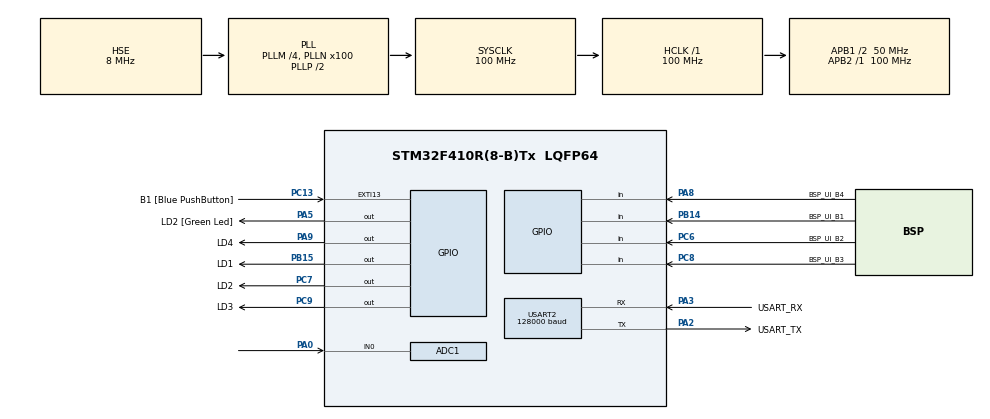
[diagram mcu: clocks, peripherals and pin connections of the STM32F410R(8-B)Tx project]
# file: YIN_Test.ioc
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ADC1.Channel-0\#ChannelRegularConversion=ADC_CHANNEL_0
ADC1.ContinuousConvMode=DISABLE
ADC1.DMAContinuousRequests=ENABLE
ADC1.EnableAnalogWatchDog=true
ADC1.ExternalTrigConv=ADC_EXTERNALTRIGCONV_T5_CC1
ADC1.ExternalTrigConvEdge=ADC_EXTERNALTRIGCONVEDGE_RISINGFALLING
ADC1.HighThreshold=2250
ADC1.ITMode=DISABLE
ADC1.InjNumberOfConversion=0
ADC1.LowThreshold=600
ADC1.NbrOfConversion=1
ADC1.NbrOfConversionFlag=1
ADC1.Rank-0\#ChannelRegularConversion=1
ADC1.SamplingTime-0\#ChannelRegularConversion=ADC_SAMPLETIME_28CYCLES
ADC1.master=1
Dma.ADC1.0.Direction=DMA_PERIPH_TO_MEMORY
Dma.ADC1.0.FIFOMode=DMA_FIFOMODE_ENABLE
Dma.ADC1.0.FIFOThreshold=DMA_FIFO_THRESHOLD_FULL
Dma.ADC1.0.Instance=DMA2_Stream0
Dma.ADC1.0.MemBurst=DMA_MBURST_INC8
Dma.ADC1.0.MemDataAlignment=DMA_MDATAALIGN_HALFWORD
Dma.ADC1.0.MemInc=DMA_MINC_ENABLE
Dma.ADC1.0.Mode=DMA_CIRCULAR
Dma.ADC1.0.PeriphBurst=DMA_PBURST_SINGLE
Dma.ADC1.0.PeriphDataAlignment=DMA_PDATAALIGN_HALFWORD
Dma.ADC1.0.PeriphInc=DMA_PINC_DISABLE
Dma.ADC1.0.Priority=DMA_PRIORITY_VERY_HIGH
Dma.Request0=ADC1
FREERTOS.INCLUDE_eTaskGetState=1
FREERTOS.INCLUDE_uxTaskGetStackHighWaterMark=1
FREERTOS.INCLUDE_uxTaskPriorityGet=1
FREERTOS.INCLUDE_vTaskCleanUpResources=1
FREERTOS.INCLUDE_vTaskDelete=0
FREERTOS.INCLUDE_vTaskPrioritySet=1
FREERTOS.INCLUDE_xTaskGetCurrentTaskHandle=1
FREERTOS.MEMORY_ALLOCATION=2
FREERTOS.Queues01=Queue_F0,4,float,0,Static,Queue_F0Buffer,Queue_F0ControlBlock
FREERTOS.Tasks01=osTask_Debug,-3,256,StartTask_Debug,Default,NULL,Dynamic,NULL,NULL;osTask_AudioP1,1,256,StartTask_AudioPreProcessing,Default,NULL,Dynamic,NULL,NULL;osTask_AudioP2,2,256,StartTask_AudioProcessing,Default,NULL,Dynamic,NULL,NULL;osTask_Moter,2,320,StartTask_Moter,Default,NULL,Dynamic,NULL,NULL;osTask_UI,0,128,StartTask_UI,Default,NULL,Dynamic,NULL,NULL;osTask_GUI,-2,256,StartTask_GUI,Default,NULL,Dynamic,NULL,NULL;osTask_Core,-1,128,StartTask_Core,Default,NULL,Dynamic,NULL,NULL
FREERTOS.configCHECK_FOR_STACK_OVERFLOW=2
FREERTOS.configENABLE_BACKWARD_COMPATIBILITY=0
FREERTOS.configGENERATE_RUN_TIME_STATS=1
FREERTOS.configIDLE_SHOULD_YIELD=0
FREERTOS.configMAX_PRIORITIES=6
FREERTOS.configMINIMAL_STACK_SIZE=128
FREERTOS.configTOTAL_HEAP_SIZE=16384
FREERTOS.configUSE_MUTEXES=1
FREERTOS.configUSE_STATS_FORMATTING_FUNCTIONS=1
FREERTOS.configUSE_TICKLESS_IDLE=0
FREERTOS.configUSE_TRACE_FACILITY=1
Mcu.Family=STM32F4
Mcu.Name=STM32F410R(8-B)Tx
Mcu.Package=LQFP64
NVIC.DMA2_Stream0_IRQn=true\:5\:0\:true\:false\:true\:true\:false\:true
NVIC.PriorityGroup=NVIC_PRIORITYGROUP_4
NVIC.TIM1_TRG_COM_TIM11_IRQn=true\:4\:0\:true\:false\:true\:false\:true\:true
NVIC.TIM6_DAC_IRQn=true\:0\:0\:false\:false\:true\:false\:false\:true
NVIC.TimeBase=TIM6_DAC_IRQn
NVIC.TimeBaseIP=TIM6
NVIC.USART2_IRQn=true\:15\:0\:true\:false\:true\:true\:true\:true
PA0-WKUP.Signal=ADCx_IN0
PA13.GPIO_Label=TMS
PA13.Mode=Trace_Asynchronous_SW
PA13.Signal=SYS_JTMS-SWDIO
PA14.GPIO_Label=TCK
PA14.Mode=Trace_Asynchronous_SW
PA14.Signal=SYS_JTCK-SWCLK
PA2.GPIO_Label=USART_TX
PA2.Mode=Asynchronous
PA2.Signal=USART2_TX
PA3.GPIO_Label=USART_RX
PA3.Mode=Asynchronous
PA3.Signal=USART2_RX
PA5.GPIO_Label=LD2 [Green Led]
PA5.Signal=GPIO_Output
PA8.GPIO_Label=BSP_UI_B4
PA8.Signal=GPIO_Input
PA9.GPIO_Label=LD4
PA9.GPIO_PuPd=GPIO_PULLDOWN
PA9.Signal=GPIO_Output
PB14.GPIO_Label=BSP_UI_B1
PB14.Signal=GPIO_Input
PB15.GPIO_Label=LD1
PB15.GPIO_PuPd=GPIO_PULLDOWN
PB15.Signal=GPIO_Output
PB3.GPIO_Label=SWO
PB3.Mode=Trace_Asynchronous_SW
PB3.Signal=SYS_JTDO-SWO
PC13-ANTI_TAMP.GPIO_Label=B1 [Blue PushButton]
PC13-ANTI_TAMP.GPIO_ModeDefaultEXTI=GPIO_MODE_IT_FALLING
PC13-ANTI_TAMP.Signal=GPXTI13
PC14-OSC32_IN.Signal=RCC_OSC32_IN
PC15-OSC32_OUT.Signal=RCC_OSC32_OUT
PC6.GPIO_Label=BSP_UI_B2
PC6.Signal=GPIO_Input
PC7.GPIO_Label=LD2
PC7.GPIO_PuPd=GPIO_PULLDOWN
PC7.Signal=GPIO_Output
PC8.GPIO_Label=BSP_UI_B3
PC8.Signal=GPIO_Input
PC9.GPIO_Label=LD3
PC9.GPIO_PuPd=GPIO_PULLDOWN
PC9.Signal=GPIO_Output
PH0\ -\ OSC_IN.Mode=HSE-External-Clock-Source
PH0\ -\ OSC_IN.Signal=RCC_OSC_IN
PH1\ -\ OSC_OUT.Mode=HSE-External-Clock-Source
PH1\ -\ OSC_OUT.Signal=RCC_OSC_OUT
ProjectManager.HeapSize=0x200
ProjectManager.StackSize=0x500
ProjectManager.TargetToolchain=MDK-ARM V5.27
RCC.48MHZClocksFreq_Value=50000000
RCC.AHBFreq_Value=100000000
RCC.APB1CLKDivider=RCC_HCLK_DIV2
RCC.APB1Freq_Value=50000000
RCC.APB1TimFreq_Value=100000000
RCC.APB2Freq_Value=100000000
RCC.APB2TimFreq_Value=100000000
RCC.CortexFreq_Value=100000000
RCC.FLatency-AdvancedSettings=FLASH_LATENCY_3
RCC.HCLKFreq_Value=100000000
RCC.HSE_VALUE=8000000
RCC.HSI_VALUE=16000000
RCC.LSE_VALUE=32768
RCC.PLLM=4
RCC.PLLN=100
RCC.PLLSourceVirtual=RCC_PLLSOURCE_HSE
RCC.PWR_Regulator_Voltage_Scale=PWR_REGULATOR_VOLTAGE_SCALE1
RCC.SYSCLKFreq_VALUE=100000000
RCC.SYSCLKSource=RCC_SYSCLKSOURCE_PLLCLK
RCC.VCOOutputFreq_Value=200000000
SH.ADCx_IN0.0=ADC1_IN0,IN0
TIM11.AutoReloadPreload=TIM_AUTORELOAD_PRELOAD_ENABLE
TIM11.ClockDivision=TIM_CLOCKDIVISION_DIV1
TIM11.Period=4999
TIM11.Prescaler=0
TIM5.AutoReloadPreload=TIM_AUTORELOAD_PRELOAD_ENABLE
TIM5.Channel-Output\ Compare1\ No\ Output=TIM_CHANNEL_1
TIM5.ClockDivision=TIM_CLOCKDIVISION_DIV1
TIM5.OCMode_1=TIM_OCMODE_TOGGLE
TIM5.Period=2499
TIM5.Prescaler=1
TIM5.Pulse-Output\ Compare1\ No\ Output=1249
TIM5.TIM_MasterOutputTrigger=TIM_TRGO_OC1
TIM5.TIM_MasterSlaveMode=TIM_MASTERSLAVEMODE_DISABLE
USART2.BaudRate=128000
USART2.VirtualMode=VM_ASYNC
VP_FREERTOS_VS_CMSIS_V1.Mode=CMSIS_V1
VP_SYS_VS_tim6.Mode=TIM6
VP_TIM11_VS_ClockSourceINT.Mode=Enable_Timer
VP_TIM5_VS_ClockSourceINT.Mode=Internal
VP_TIM5_VS_no_output1.Mode=Output Compare1 No Output
board=NUCLEO-F410RB

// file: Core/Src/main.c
/* USER CODE BEGIN Header */
/**
  ******************************************************************************
  * @file           : main.c
  * @brief          : Main program body
  ******************************************************************************
  * @attention
  *
  * <h2><center>&copy; Copyright (c) 2019 STMicroelectronics.
  * All rights reserved.</center></h2>
  *
  * This software component is licensed by ST under Ultimate Liberty license
  * SLA0044, the "License"; You may not use this file except in compliance with
  * the License. You may obtain a copy of the License at:
  *                             www.st.com/SLA0044
  *
  ******************************************************************************
  */
/* USER CODE END Header */

#include "main.h"
#include "cmsis_os.h"
#include "adc.h"
#include "dma.h"
#include "tim.h"
#include "usart.h"
#include "gpio.h"

/* USER CODE BEGIN Includes */
#include "USER_audio_processing.h"
/* USER CODE END Includes */

/* USER CODE BEGIN PV */
extern uint16_t aADC1ConvertedData;
/* USER CODE END PV */

void SystemClock_Config(void);
void MX_FREERTOS_Init(void);

int main(void)
{

  /* MCU Configuration--------------------------------------------------------*/

  /* Reset of all peripherals, Initializes the Flash interface and the Systick. */
  HAL_Init();

  /* Configure the system clock */
  SystemClock_Config();

  /* Initialize all configured peripherals */
  MX_GPIO_Init();
  MX_DMA_Init();
  MX_ADC1_Init();
  MX_USART2_UART_Init();
  MX_TIM11_Init();
  MX_TIM5_Init();
  /* USER CODE BEGIN 2 */

/***********************************************************/
  if (HAL_ADC_Start_DMA(&hadc1,
                      (uint32_t *)&aADC1ConvertedData,
                      (ADC_CONVERTED_DATA_DOUBLEBUFFER_SIZE)
                     ) != HAL_OK)
  {
    Error_Handler();
  }

  if(HAL_TIM_OC_Start_IT(&htim5, TIM_CHANNEL_1) != HAL_OK)
  {
    /* Starting Error */
    Error_Handler();
  }

  /* USER CODE END 2 */

  /* Call init function for freertos objects (in freertos.c) */
  MX_FREERTOS_Init();
  /* Start scheduler */
  osKernelStart();

  /* We should never get here as control is now taken by the scheduler */
  /* Infinite loop */
  while (1)
  {

  }
}

void SystemClock_Config(void)
{
  RCC_OscInitTypeDef RCC_OscInitStruct = {0};
  RCC_ClkInitTypeDef RCC_ClkInitStruct = {0};

  /** Configure the main internal regulator output voltage
  */
  __HAL_RCC_PWR_CLK_ENABLE();
  __HAL_PWR_VOLTAGESCALING_CONFIG(PWR_REGULATOR_VOLTAGE_SCALE1);
  /** Initializes the CPU, AHB and APB busses clocks
  */
  RCC_OscInitStruct.OscillatorType = RCC_OSCILLATORTYPE_HSE;
  RCC_OscInitStruct.HSEState = RCC_HSE_BYPASS;
  RCC_OscInitStruct.PLL.PLLState = RCC_PLL_ON;
  RCC_OscInitStruct.PLL.PLLSource = RCC_PLLSOURCE_HSE;
  RCC_OscInitStruct.PLL.PLLM = 4;
  RCC_OscInitStruct.PLL.PLLN = 100;
  RCC_OscInitStruct.PLL.PLLP = RCC_PLLP_DIV2;
  RCC_OscInitStruct.PLL.PLLQ = 4;
  RCC_OscInitStruct.PLL.PLLR = 2;
  if (HAL_RCC_OscConfig(&RCC_OscInitStruct) != HAL_OK)
  {
    Error_Handler();
  }
  /** Initializes the CPU, AHB and APB busses clocks
  */
  RCC_ClkInitStruct.ClockType = RCC_CLOCKTYPE_HCLK|RCC_CLOCKTYPE_SYSCLK
                              |RCC_CLOCKTYPE_PCLK1|RCC_CLOCKTYPE_PCLK2;
  RCC_ClkInitStruct.SYSCLKSource = RCC_SYSCLKSOURCE_PLLCLK;
  RCC_ClkInitStruct.AHBCLKDivider = RCC_SYSCLK_DIV1;
  RCC_ClkInitStruct.APB1CLKDivider = RCC_HCLK_DIV2;
  RCC_ClkInitStruct.APB2CLKDivider = RCC_HCLK_DIV1;

  if (HAL_RCC_ClockConfig(&RCC_ClkInitStruct, FLASH_LATENCY_3) != HAL_OK)
  {
    Error_Handler();
  }
}

 /**
  * @brief  Period elapsed callback in non blocking mode
  * @note   This function is called  when TIM6 interrupt took place, inside
  * HAL_TIM_IRQHandler(). It makes a direct call to HAL_IncTick() to increment
  * a global variable "uwTick" used as application time base.
  * @param  htim : TIM handle
  * @retval None
  */
void HAL_TIM_PeriodElapsedCallback(TIM_HandleTypeDef *htim)
{
  if (htim->Instance == TIM6) {
    HAL_IncTick();
  }
}

void Error_Handler(void)
{
  /* USER CODE BEGIN Error_Handler_Debug */
  /* User can add his own implementation to report the HAL error return state */
  printf("\r\nError_Handler\r\n");
  /* USER CODE END Error_Handler_Debug */
}

#ifdef  USE_FULL_ASSERT
/**
  * @brief  Reports the name of the source file and the source line number
  *         where the assert_param error has occurred.
  * @param  file: pointer to the source file name
  * @param  line: assert_param error line source number
  * @retval None
  */
void assert_failed(uint8_t *file, uint32_t line)
{
  /* USER CODE BEGIN 6 */
  /* User can add his own implementation to report the file name and line number,
     tex: printf("Wrong parameters value: file %s on line %d\r\n", file, line) */
  printf("\r\nWrong parameters: file %s on line %d\r\n", file, line);
  while(1){}
  /* USER CODE END 6 */
}
#endif /* USE_FULL_ASSERT */

/************************ (C) COPYRIGHT STMicroelectronics *****END OF FILE****/

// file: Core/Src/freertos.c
/* USER CODE BEGIN Header */
/**
  ******************************************************************************
  * File Name          : freertos.c
  * Description        : Code for freertos applications
  ******************************************************************************
  * @attention
  *
  * <h2><center>&copy; Copyright (c) 2019 STMicroelectronics.
  * All rights reserved.</center></h2>
  *
  * This software component is licensed by ST under Ultimate Liberty license
  * SLA0044, the "License"; You may not use this file except in compliance with
  * the License. You may obtain a copy of the License at:
  *                             www.st.com/SLA0044
  *
  ******************************************************************************
  */
/* USER CODE END Header */

#include "FreeRTOS.h"
#include "task.h"
#include "main.h"
#include "cmsis_os.h"

/* USER CODE BEGIN Includes */
#include "queue.h"
#include "USER_audio_processing.h"
#include "USER_app_core.h"
#include "BSP_UI.h"
#include "Yin.h"
#include "adc.h"
#include "gpio.h"
//#include "iwdg.h"
#include "stdbool.h"
#include "stdio.h"
#include "stdlib.h"
#include "string.h"
/* Include ARM math */
#include "arm_math.h"
/* USER CODE END Includes */

/* USER CODE BEGIN Variables */

/* Debug Var*/
volatile uint16_t peak_detector_value;
volatile uint16_t reverse_peak_detector_value;
/* AudioProcessing Var*/
//uint16_t *audio_input_buffer;
uint16_t audio_input_buffer[ADC_CONVERTED_DATA_BUFFER_SIZE];
extern uint16_t aADC1ConvertedData[ADC_CONVERTED_DATA_DOUBLEBUFFER_SIZE];
extern volatile bool ubAnalogWatchdogStatus;
/* Pitch Var*/
float f0_target = 440.00;

/* USER CODE END Variables */
osThreadId osTask_DebugHandle;
osThreadId osTask_AudioP1Handle;
osThreadId osTask_AudioP2Handle;
osThreadId osTask_MoterHandle;
osThreadId osTask_UIHandle;
osThreadId osTask_GUIHandle;
osThreadId osTask_CoreHandle;
osMessageQId Queue_F0Handle;
uint8_t Queue_F0Buffer[ 4 * sizeof( float ) ];
osStaticMessageQDef_t Queue_F0ControlBlock;

/* USER CODE BEGIN FunctionPrototypes */

extern void StartTaskRunTimeStats(void);

/* USER CODE END FunctionPrototypes */

void StartTask_Debug(void const * argument);
void StartTask_AudioPreProcessing(void const * argument);
void StartTask_AudioProcessing(void const * argument);
void StartTask_Moter(void const * argument);
void StartTask_UI(void const * argument);
void StartTask_GUI(void const * argument);
void StartTask_Core(void const * argument);

void MX_FREERTOS_Init(void); /* (MISRA C 2004 rule 8.1) */

/* GetIdleTaskMemory prototype (linked to static allocation support) */
void vApplicationGetIdleTaskMemory( StaticTask_t **ppxIdleTaskTCBBuffer, StackType_t **ppxIdleTaskStackBuffer, uint32_t *pulIdleTaskStackSize );

/* Hook prototypes */
void configureTimerForRunTimeStats(void);
unsigned long getRunTimeCounterValue(void);
void vApplicationStackOverflowHook(TaskHandle_t xTask, signed char *pcTaskName);

/* USER CODE BEGIN 1 */
uint64_t ulHighFrequencyTimerTicks = 0ul;
/* Functions needed when configGENERATE_RUN_TIME_STATS is on */
__weak void configureTimerForRunTimeStats(void)
{
  uint64_t ulHighFrequencyTimerTicks = 0ul;
}

__weak unsigned long getRunTimeCounterValue(void)
{
  return ulHighFrequencyTimerTicks;
}
/* USER CODE END 1 */

/* USER CODE BEGIN 4 */
__weak void vApplicationStackOverflowHook(TaskHandle_t xTask, signed char *pcTaskName)
{
  /* Run time stack overflow checking is performed if
   configCHECK_FOR_STACK_OVERFLOW is defined to 1 or 2. This hook function is
   called if a stack overflow is detected. */

  printf("\r\nOverflow %s", pcTaskName);
}
/* USER CODE END 4 */

/* USER CODE BEGIN GET_IDLE_TASK_MEMORY */
static StaticTask_t xIdleTaskTCBBuffer;
static StackType_t xIdleStack[configMINIMAL_STACK_SIZE];

void vApplicationGetIdleTaskMemory(StaticTask_t **ppxIdleTaskTCBBuffer, StackType_t **ppxIdleTaskStackBuffer, uint32_t *pulIdleTaskStackSize)
{
  *ppxIdleTaskTCBBuffer = &xIdleTaskTCBBuffer;
  *ppxIdleTaskStackBuffer = &xIdleStack[0];
  *pulIdleTaskStackSize = configMINIMAL_STACK_SIZE;
  /* place for user code */
}
/* USER CODE END GET_IDLE_TASK_MEMORY */

void MX_FREERTOS_Init(void) {
  /* USER CODE BEGIN Init */
  StartTaskRunTimeStats();
  USER_App_Core_Init();
  USER_BSP_Button_Init();

  //audio_input_buffer = (uint16_t *)pvPortMalloc(ADC_CONVERTED_DATA_BUFFER_SIZE * sizeof(uint16_t));

  /* USER CODE END Init */

  /* Create the queue(s) */
  /* definition and creation of Queue_F0 */
  osMessageQStaticDef(Queue_F0, 4, float, Queue_F0Buffer, &Queue_F0ControlBlock);
  Queue_F0Handle = osMessageCreate(osMessageQ(Queue_F0), NULL);

  /* Create the thread(s) */
  /* definition and creation of osTask_Debug */
  osThreadDef(osTask_Debug, StartTask_Debug, osPriorityIdle, 0, 256);
  osTask_DebugHandle = osThreadCreate(osThread(osTask_Debug), NULL);

  /* definition and creation of osTask_AudioP1 */
  osThreadDef(osTask_AudioP1, StartTask_AudioPreProcessing, osPriorityAboveNormal, 0, 256);
  osTask_AudioP1Handle = osThreadCreate(osThread(osTask_AudioP1), NULL);

  /* definition and creation of osTask_AudioP2 */
  osThreadDef(osTask_AudioP2, StartTask_AudioProcessing, osPriorityHigh, 0, 256);
  osTask_AudioP2Handle = osThreadCreate(osThread(osTask_AudioP2), NULL);

  /* definition and creation of osTask_Moter */
  osThreadDef(osTask_Moter, StartTask_Moter, osPriorityHigh, 0, 320);
  osTask_MoterHandle = osThreadCreate(osThread(osTask_Moter), NULL);

  /* definition and creation of osTask_UI */
  osThreadDef(osTask_UI, StartTask_UI, osPriorityNormal, 0, 128);
  osTask_UIHandle = osThreadCreate(osThread(osTask_UI), NULL);

  /* definition and creation of osTask_GUI */
  osThreadDef(osTask_GUI, StartTask_GUI, osPriorityLow, 0, 256);
  osTask_GUIHandle = osThreadCreate(osThread(osTask_GUI), NULL);

  /* definition and creation of osTask_Core */
  osThreadDef(osTask_Core, StartTask_Core, osPriorityBelowNormal, 0, 128);
  osTask_CoreHandle = osThreadCreate(osThread(osTask_Core), NULL);

}

void StartTask_Debug(void const * argument)
{
  /* USER CODE BEGIN StartTask_Debug */
  //vTaskSuspend(osTask_DebugHandle);
  uint8_t pcWriteBuffer[256];
  /* Infinite loop */
  for (;;)
  {
    HAL_GPIO_TogglePin(LD2_GPIO_Port, LD2_Pin);

    vTaskList((char *)&pcWriteBuffer);
    printf("\r\n================================\r\n");
    printf("Task_name     State  Priority  R_Stack  Task_number\r\n");
    printf("%s\r\n", pcWriteBuffer);

    vTaskGetRunTimeStats((char *)&pcWriteBuffer);
    printf("Task_name       Running_count   CPU_usage \r\n");
    printf("%s\r\n", pcWriteBuffer);
    printf("Minimum memory: ");
    printf("%01d", xPortGetFreeHeapSize());
    printf("\r\nMinimum remaining memory: ");
    printf("%01d \r\n\r\n", xPortGetMinimumEverFreeHeapSize());

    osDelay(100);
    //HAL_IWDG_Refresh(&hiwdg);
  }
  /* USER CODE END StartTask_Debug */
}

void StartTask_AudioPreProcessing(void const * argument)
{
  /* USER CODE BEGIN StartTask_AudioPreProcessing */
  uint_fast32_t dma_clpt_flag;
  /* Infinite loop */
  for (;;)
  {
    xTaskNotifyWait(0x00000000, 0x00000000, &dma_clpt_flag, portMAX_DELAY);

    /* TODO   AnalogWDGConfig.HighThreshold = 2000 ??
              AnalogWDGConfig.LowThreshold =  1000 ??
              ADC转换周期?ADC buffer长度?*/
    /* 测试时，删除下面adc Code*/
    if (__HAL_ADC_GET_FLAG(&hadc1, ADC_FLAG_AWD))
    {
      printf("\r\nAudioPreProcessing\r\n");

      __HAL_ADC_CLEAR_FLAG(&hadc1, ADC_FLAG_AWD);

      CopyADCData_MedianFilter(aADC1ConvertedData, dma_clpt_flag);
      //xTaskNotifyGive(osTask_AudioP2Handle);
      uint32_t now_syscount = xTaskGetTickCount();
      xTaskNotify(osTask_AudioP2Handle, now_syscount, eSetValueWithOverwrite);
    }

    //if (dma_clpt_flag == 0x01)  //dma HalfCplt
    //{
    //  memcpy(audio_input_buffer, &aADC1ConvertedData[0], ADC_CONVERTED_DATA_BUFFER_SIZE*sizeof(uint16_t));
    //}
    //if ((dma_clpt_flag & 0x02) != 0)  //dma full clpt
    //{
    //  memcpy(audio_input_buffer, &aADC1ConvertedData[ADC_CONVERTED_DATA_BUFFER_SIZE-1], ADC_CONVERTED_DATA_BUFFER_SIZE*sizeof(uint16_t));
    //}

    //osDelay(1000);
  }
  /* USER CODE END StartTask_AudioPreProcessing */
}

void StartTask_AudioProcessing(void const * argument)
{
  /* USER CODE BEGIN StartTask_AudioProcessing */
  static uint32_t P1_count_present = 0;
  static uint32_t P1_count_last = 0;
  static Yin yin;
  static float f0_present = 0.0f;
  static float f0_last = 400.0f;
  static float f0_temp[3] = {0.0f, 0.0f, 0.0f};
  static uint8_t f0_temp_count = 0;

  Yin_init(&yin, ADC_CONVERTED_DATA_BUFFER_SIZE, 0.08);

  /* Infinite loop */
  for (;;)
  {
    xTaskNotifyWait(0, 0xffffff, &P1_count_present, portMAX_DELAY);

    f0_present = Yin_getPitch(&yin, audio_input_buffer);
    //printf("\r\nYIN_f0_present=%f", f0_present);

    //f0_temp[f0_temp_count] = Yin_getPitch(&yin, audio_input_buffer);
    //f0_temp_count++;
    //if (f0_temp_count >= 2)
    //{
    //  f0_temp_count = 0;
    //}

    Yin_freeBuffer_RTOS(&yin);

    //f0_present = middle_of_3_float(f0_temp[0], f0_temp[1], f0_temp[2]);
    //TODO replace middle_filter with kalman_filter

    if (f0_present > 25)
    {
      /* 除去 (F0/2) 的结�???? */
      if (((f0_present * 2 - f0_last) < 5.0) && (P1_count_present - P1_count_last < 200))
      {
        //printf("F0/2 del %f \r\n", f0_present);
        f0_present = f0_present * 2;
        //f0_present = 0.0;
      }
      else
      {
        f0_last = f0_present;
      }

      P1_count_last = P1_count_present;

      printf("\r\n\r\nF0 = %f", f0_present);
      //printf("\r\npeak_detector_value = %d", peak_detector_value);
      //printf("\r\nreverse_peak_detector_value = %d\r\n", reverse_peak_detector_value);
      //printf("中心p = %d\r\n", peak_detector_value-((peak_detector_value-reverse_peak_detector_value)/2));
      //printf("中心rp = %d\r\n", ((peak_detector_value-reverse_peak_detector_value)/2)+reverse_peak_detector_value);
      //printf("delta_high_low = %d\r\n", peak_detector_value-reverse_peak_detector_value);
      //printf("\r\ncloset_sub = %d \r\n", Find_Closest_FreqDataArray_SubNum(f0_present));
      f0_target = setting_music_status.FreqDataArray[Find_Closest_FreqDataArray_SubNum(f0_present)];
      printf("\r\nTarget_F0 = %f", f0_target);
      printf("\r\nTarget_Pitch= %s", all_string_name[setting_music_status.mStringNameNumArray[setting_tuner_status.mStringNum]]);

      if (xQueueSendToBack(Queue_F0Handle, &f0_present, 50) != pdPASS)
      {
        printf("Queue_F0 was full!");
      }

      //TODO 如果CPU富裕，换成TaskNotify
      //xTaskNotifyGive(osTask_MoterP1Handle);
    }
    //ulTaskNotifyTake(pdTRUE, portMAX_DELAY);
  }
  /* USER CODE END StartTask_AudioProcessing */
}

void StartTask_Moter(void const * argument)
{
  /* USER CODE BEGIN StartTask_Moter */
  static float pid_input_f0[4];

  /* PID Var*/
  static arm_pid_instance_f32 PID;
  //TODO 调节PID参数
  PID.Kp = 30;   /**< Proporcional 比例 */
  PID.Ki = 0.05; /**< Integral     积分 */
  PID.Kd = 1;    /**< Derivative   微分 */

  /* 实测F0与目标F0 */
  static float f0_error;

  /* 步进电机参数 */
  static float motor_step;

  /* Initialize PID system, float32_t format */
  arm_pid_init_f32(&PID, 1);

  /* Infinite loop */
  for (;;)
  {
    //ulTaskNotifyTake(pdTRUE, portMAX_DELAY);
    xQueueReceive(Queue_F0Handle, pid_input_f0, portMAX_DELAY);
    //printf("\r\nQueueSpacesAvailable=%u", (uint32_t)uxQueueSpacesAvailable(Queue_F0Handle));
    printf("\r\npid_input_f0=%f",pid_input_f0[0]);
    f0_error = f0_target - pid_input_f0[0];

    /* Calculate PID here, argument is f0_error */
    /* Output data will be returned, we will use it as step motor control parameter*/
    motor_step = arm_pid_f32(&PID, f0_error);

    printf("\r\nPID_output=%f\r\n", motor_step);
  }
  /* USER CODE END StartTask_Moter */
}

void StartTask_UI(void const * argument)
{
  /* USER CODE BEGIN StartTask_UI */
  /* Infinite loop */
  for (;;)
  {
    /* TODO 这里处理按键，并设定目标频率(f0_target)*/
    USER_BSP_UI_ButtonScan();
    osDelay(40);
  }
  /* USER CODE END StartTask_UI */
}

void StartTask_GUI(void const * argument)
{
  /* USER CODE BEGIN StartTask_GUI */
  /* Infinite loop */
  for(;;)
  {
    osDelay(500);
  }
  /* USER CODE END StartTask_GUI */
}

void StartTask_Core(void const * argument)
{
  /* USER CODE BEGIN StartTask_Core */
  /* Infinite loop */
  for(;;)
  {
    osDelay(1000);
  }
  /* USER CODE END StartTask_Core */
}

/************************ (C) COPYRIGHT STMicroelectronics *****END OF FILE****/
